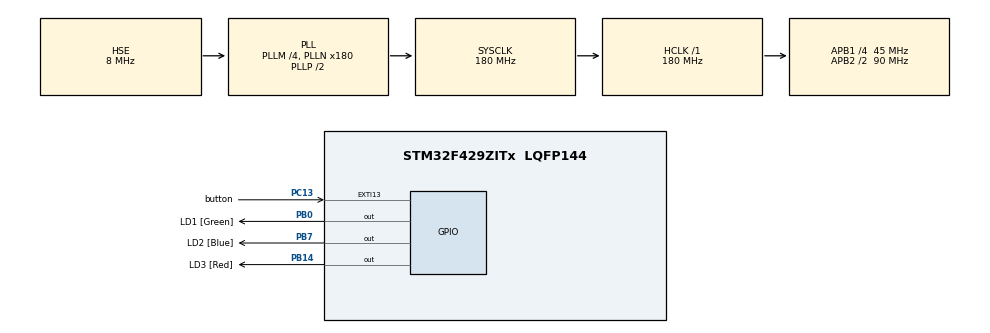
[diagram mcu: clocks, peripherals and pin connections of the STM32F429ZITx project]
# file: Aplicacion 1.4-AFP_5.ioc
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Mcu.Family=STM32F4
Mcu.Name=STM32F429ZITx
Mcu.Package=LQFP144
NVIC.PriorityGroup=NVIC_PRIORITYGROUP_4
PB0.GPIO_Label=LD1 [Green]
PB0.Signal=GPIO_Output
PB14.GPIO_Label=LD3 [Red]
PB14.Signal=GPIO_Output
PB7.GPIO_Label=LD2 [Blue]
PB7.Signal=GPIO_Output
PC13.GPIO_Label=button
PC13.Signal=GPXTI13
PH0/OSC_IN.Mode=HSE-External-Oscillator
PH0/OSC_IN.Signal=RCC_OSC_IN
PH1/OSC_OUT.Mode=HSE-External-Oscillator
PH1/OSC_OUT.Signal=RCC_OSC_OUT
ProjectManager.HeapSize=0x200
ProjectManager.StackSize=0x400
ProjectManager.TargetToolchain=STM32CubeIDE
RCC.48MHZClocksFreq_Value=51428571.428571425
RCC.AHBFreq_Value=180000000
RCC.APB1CLKDivider=RCC_HCLK_DIV4
RCC.APB1Freq_Value=45000000
RCC.APB1TimFreq_Value=90000000
RCC.APB2CLKDivider=RCC_HCLK_DIV2
RCC.APB2Freq_Value=90000000
RCC.APB2TimFreq_Value=180000000
RCC.CortexFreq_Value=180000000
RCC.HCLKFreq_Value=180000000
RCC.HSE_VALUE=8000000
RCC.HSI_VALUE=16000000
RCC.PLLM=4
RCC.PLLMUL=RCC_PLL_MUL9
RCC.PLLN=180
RCC.PLLQ=7
RCC.PLLSourceVirtual=RCC_PLLSOURCE_HSE
RCC.PRESCALERUSB=RCC_USBCLKSOURCE_PLL_DIV1_5
RCC.SYSCLKFreq_VALUE=180000000
RCC.SYSCLKSource=RCC_SYSCLKSOURCE_PLLCLK
RCC.SYSCLKSourceVirtual=RCC_SYSCLKSOURCE_PLLCLK
RCC.USBFreq_Value=48000000
RCC.VCOOutputFreq_Value=360000000
board=NUCLEO-F429ZI

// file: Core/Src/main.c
/* USER CODE BEGIN Header */
/**
  ******************************************************************************
  * @file           : main.c
  * @brief          : Main program body
  ******************************************************************************
  * @attention
  *
  * Copyright (c) 2026 STMicroelectronics.
  * All rights reserved.
  *
  * This software is licensed under terms that can be found in the LICENSE file
  * in the root directory of this software component.
  * If no LICENSE file comes with this software, it is provided AS-IS.
  *
  ******************************************************************************
  */
/* USER CODE END Header */
#include "main.h"
#include "string.h"
#include <stdbool.h>
/* USER CODE BEGIN Includes */
#include "API_GPIO.h"
#include "API_Delay.h"
#include "API_Debounce.h"
/* USER CODE END Includes */

/* USER CODE BEGIN PD */
#define LED1 LD1_Pin //led verde
#define LED2 LD2_Pin //led azul
#define LED3 LD3_Pin // led rojo
#define T1 100
#define T2 250
#define T3 500
#define T4 1000
/* USER CODE END PD */

/* USER CODE BEGIN PV */
led_t LEDS[] = {LED1, LED2, LED3};
delay_t pasoDelay1;
delay_t pasoDelay2;
delay_t pasoDelay3;
delay_t pasoDelay4;
/* USER CODE END PV */

void SystemClock_Config(void);

int main(void)
{

  /* MCU Configuration--------------------------------------------------------*/

  /* Reset of all peripherals, Initializes the Flash interface and the Systick. */
  HAL_Init();

  /* Configure the system clock */
  SystemClock_Config();

  /* Initialize all configured peripherals */
  MX_GPIO_Init();
  debounceFSM_init();
  /* USER CODE BEGIN 2 */
  delayInit(&pasoDelay1, T1);
  delayInit(&pasoDelay2, T2);
  delayInit(&pasoDelay3, T3);
  delayInit(&pasoDelay4, T4);

  LEDapagado_GPIO(LEDS[0]);
  LEDapagado_GPIO(LEDS[1]);
  LEDapagado_GPIO(LEDS[2]);
  /* USER CODE END 2 */

  /* Infinite loop */
  while (1)
  {

    /* USER CODE BEGIN 3 */
	  debounceFSM_update();

	    //---Seleccionar cuál delay utilizar en este ciclo---//

	    delay_t* delayActual = NULL;

	    switch (estado) {
	        case 0: delayActual = &pasoDelay1; break;
	        case 1: delayActual = &pasoDelay2; break;
	        case 2: delayActual = &pasoDelay3; break;
	        case 3: delayActual = &pasoDelay4; break;
	        default: delayActual = &pasoDelay1; break;
	    }

	    //---Se ejecuta una sola vez la lógica con el delay seleccionado---//
	    if (delayRead(delayActual)) {
	    	static bool ledsEncendidos = false;

	    		        	    if (ledsEncendidos) {
	    		        	        LEDapagado_GPIO(LEDS[0]);
	    		        	        LEDapagado_GPIO(LEDS[1]);
	    		        	        LEDapagado_GPIO(LEDS[2]);
	    		        	        ledsEncendidos = false;
	    		        	    } else {
	    		        	        LEDencendido_GPIO(LEDS[0]);
	    		        	        LEDencendido_GPIO(LEDS[1]);
	    		        	        LEDencendido_GPIO(LEDS[2]);
	    		        	        ledsEncendidos = true;
	    		        	    }

 }

  }
  /* USER CODE END 3 */
}

void SystemClock_Config(void)
{
  RCC_OscInitTypeDef RCC_OscInitStruct = {0};
  RCC_ClkInitTypeDef RCC_ClkInitStruct = {0};

  __HAL_RCC_PWR_CLK_ENABLE();
  __HAL_PWR_VOLTAGESCALING_CONFIG(PWR_REGULATOR_VOLTAGE_SCALE1);

  RCC_OscInitStruct.OscillatorType = RCC_OSCILLATORTYPE_HSE;
  RCC_OscInitStruct.HSEState = RCC_HSE_ON;
  RCC_OscInitStruct.PLL.PLLState = RCC_PLL_ON;
  RCC_OscInitStruct.PLL.PLLSource = RCC_PLLSOURCE_HSE;
  RCC_OscInitStruct.PLL.PLLM = 4;
  RCC_OscInitStruct.PLL.PLLN = 180;
  RCC_OscInitStruct.PLL.PLLP = RCC_PLLP_DIV2;
  RCC_OscInitStruct.PLL.PLLQ = 7;
  if (HAL_RCC_OscConfig(&RCC_OscInitStruct) != HAL_OK)
  {
    Error_Handler();
  }

  if (HAL_PWREx_EnableOverDrive() != HAL_OK)
  {
    Error_Handler();
  }

  RCC_ClkInitStruct.ClockType = RCC_CLOCKTYPE_HCLK|RCC_CLOCKTYPE_SYSCLK
                              |RCC_CLOCKTYPE_PCLK1|RCC_CLOCKTYPE_PCLK2;
  RCC_ClkInitStruct.SYSCLKSource = RCC_SYSCLKSOURCE_PLLCLK;
  RCC_ClkInitStruct.AHBCLKDivider = RCC_SYSCLK_DIV1;
  RCC_ClkInitStruct.APB1CLKDivider = RCC_HCLK_DIV4;
  RCC_ClkInitStruct.APB2CLKDivider = RCC_HCLK_DIV2;

  if (HAL_RCC_ClockConfig(&RCC_ClkInitStruct, FLASH_LATENCY_5) != HAL_OK)
  {
    Error_Handler();
  }
}

void Error_Handler(void)
{
  __disable_irq();
  while (1)
  {
  }
}
